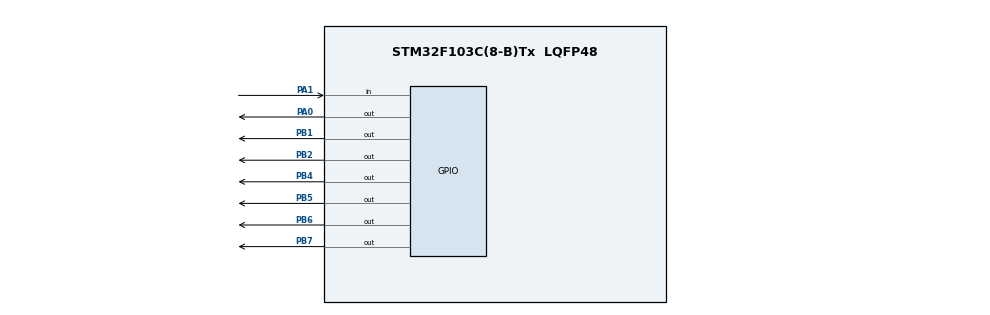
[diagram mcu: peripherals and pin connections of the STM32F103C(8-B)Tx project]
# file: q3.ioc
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Mcu.Family=STM32F1
Mcu.Name=STM32F103C(8-B)Tx
Mcu.Package=LQFP48
NVIC.PriorityGroup=NVIC_PRIORITYGROUP_4
PA0-WKUP.Signal=GPIO_Output
PA1.Signal=GPIO_Input
PB1.Signal=GPIO_Output
PB2.Signal=GPIO_Output
PB4.Signal=GPIO_Output
PB5.Signal=GPIO_Output
PB6.Signal=GPIO_Output
PB7.Signal=GPIO_Output
ProjectManager.HeapSize=0x200
ProjectManager.StackSize=0x400
ProjectManager.TargetToolchain=STM32CubeIDE
RCC.APB1Freq_Value=8000000
RCC.APB2Freq_Value=8000000
TIM1.Prescaler=7
VP_SYS_VS_ND.Mode=No_Debug
VP_TIM1_VS_ClockSourceINT.Mode=Internal
board=custom

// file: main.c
/* USER CODE BEGIN Header */
/**
  ******************************************************************************
  * @file           : main.c
  * @brief          : Main program body
  ******************************************************************************
  */
/* USER CODE END Header */
#include "main.h"

/* USER CODE BEGIN Includes */
#include "lcd.h"
#include <stdio.h>
/* USER CODE END Includes */

/* USER CODE BEGIN PD */
// --- Sensor Pin Definitions (Part A Only) ---
#define TRIG_GPIO_Port GPIOA
#define TRIG_Pin       GPIO_PIN_0  // Output

#define ECHO_GPIO_Port GPIOA
#define ECHO_Pin       GPIO_PIN_1  // Input
/* USER CODE END PD */

TIM_HandleTypeDef htim1;

/* USER CODE BEGIN PV */
TIM_HandleTypeDef htim1; // Timer used for microsecond delays/counting
uint32_t local_time = 0;
uint16_t distance = 0;
char lcd_buffer[16];

Lcd_HandleTypeDef lcd;   // LCD handle instance
/* USER CODE END PV */

void SystemClock_Config(void);
static void MX_GPIO_Init(void);
static void MX_TIM1_Init(void);
/* USER CODE BEGIN PFP */
// Ensure you have MX_TIM1_Init() defined if generated by CubeMX
/* USER CODE END PFP */

/* USER CODE BEGIN 0 */
// Function to create a microsecond delay using Timer 1
void delay_us (uint16_t us) {
    __HAL_TIM_SET_COUNTER(&htim1, 0);
    while (__HAL_TIM_GET_COUNTER(&htim1) < us);
}
/* USER CODE END 0 */

int main(void)
{

  /* MCU Configuration--------------------------------------------------------*/

  /* Reset of all peripherals, Initializes the Flash interface and the Systick. */
  HAL_Init();

  /* Configure the system clock */
  SystemClock_Config();

  /* Initialize all configured peripherals */
  MX_GPIO_Init();
  MX_TIM1_Init();
  /* USER CODE BEGIN 2 */

  // Note: Make sure TIM1 is initialized! Call MX_TIM1_Init() if generated.
  HAL_TIM_Base_Start(&htim1); // Start the timer

  // Map your configured outputs to the LCD pins
  // Assuming: D4=PB4, D5=PB5, D6=PB6, D7=PB7 | RS=PB1 | EN=PB2
  Lcd_PortType ports[] = {GPIOB, GPIOB, GPIOB, GPIOB};
  Lcd_PinType pins[] = {GPIO_PIN_4, GPIO_PIN_5, GPIO_PIN_6, GPIO_PIN_7};

  lcd = Lcd_create(ports, pins, GPIOB, GPIO_PIN_1, GPIOB, GPIO_PIN_2, LCD_4_BIT_MODE);

  /* USER CODE END 2 */

  /* Infinite loop */
  /* USER CODE BEGIN WHILE */
	  while (1)
	    {
	        // =========================================================
	        // PART A: Ultrasonic Sensor Reading (Distance)
	        // =========================================================

	        // 1. Send a 15us pulse to Trigger (PA0)
	        HAL_GPIO_WritePin(GPIOA, GPIO_PIN_0, GPIO_PIN_SET);
	        delay_us(15);
	        HAL_GPIO_WritePin(GPIOA, GPIO_PIN_0, GPIO_PIN_RESET);

	        // 2. Wait for Echo pin (PA1) to go HIGH with timeout
	        uint32_t wait_timeout = 60000;
	        while (!(HAL_GPIO_ReadPin(GPIOA, GPIO_PIN_1)) && wait_timeout-- > 0);

	        // 3. Measure how long Echo pin stays HIGH using the Hardware Timer
	        __HAL_TIM_SET_COUNTER(&htim1, 0);
	        while (HAL_GPIO_ReadPin(GPIOA, GPIO_PIN_1) && __HAL_TIM_GET_COUNTER(&htim1) < 50000);

	        // 4. Get the exact microsecond time
	        local_time = __HAL_TIM_GET_COUNTER(&htim1);

	        // 5. Calculate Distance using Proteus CAL factor (58)
	        if (local_time >= 50000 || wait_timeout == 0) {
	            distance = 0;
	        } else {
	            distance = local_time / 58;
	        }

	        // =========================================================
	        // PART B: IR Proximity Sensor Reading
	        // =========================================================

	        // Read the state of the IR sensor OUT pin (PA2)
	        // LOW (RESET) usually means an object is reflecting the IR light
	        GPIO_PinState ir_state = HAL_GPIO_ReadPin(GPIOA, GPIO_PIN_2);

	        // =========================================================
	        // Update the LCD Display
	        // =========================================================
	        Lcd_clear(&lcd);

	        // Top Row: Print Ultrasonic Distance
	        sprintf(lcd_buffer, "Dist: %d cm", distance);
	        Lcd_cursor(&lcd, 0, 0);
	        Lcd_string(&lcd, lcd_buffer);

	        // Bottom Row: Print IR Sensor Status
	        Lcd_cursor(&lcd, 1, 0);
	        if (ir_state == GPIO_PIN_RESET) {
	            Lcd_string(&lcd, "Object Detected!");
	        } else {
	            Lcd_string(&lcd, "Path Clear");
	        }

	        HAL_Delay(250); // Delay for LCD stability and simulation pacing

	      /* USER CODE END WHILE */

  }
}

void SystemClock_Config(void)
{
  RCC_OscInitTypeDef RCC_OscInitStruct = {0};
  RCC_ClkInitTypeDef RCC_ClkInitStruct = {0};

  /** Initializes the RCC Oscillators according to the specified parameters
  * in the RCC_OscInitTypeDef structure.
  */
  RCC_OscInitStruct.OscillatorType = RCC_OSCILLATORTYPE_HSI;
  RCC_OscInitStruct.HSIState = RCC_HSI_ON;
  RCC_OscInitStruct.HSICalibrationValue = RCC_HSICALIBRATION_DEFAULT;
  RCC_OscInitStruct.PLL.PLLState = RCC_PLL_NONE;
  if (HAL_RCC_OscConfig(&RCC_OscInitStruct) != HAL_OK)
  {
    Error_Handler();
  }

  /** Initializes the CPU, AHB and APB buses clocks
  */
  RCC_ClkInitStruct.ClockType = RCC_CLOCKTYPE_HCLK|RCC_CLOCKTYPE_SYSCLK
                              |RCC_CLOCKTYPE_PCLK1|RCC_CLOCKTYPE_PCLK2;
  RCC_ClkInitStruct.SYSCLKSource = RCC_SYSCLKSOURCE_HSI;
  RCC_ClkInitStruct.AHBCLKDivider = RCC_SYSCLK_DIV1;
  RCC_ClkInitStruct.APB1CLKDivider = RCC_HCLK_DIV1;
  RCC_ClkInitStruct.APB2CLKDivider = RCC_HCLK_DIV1;

  if (HAL_RCC_ClockConfig(&RCC_ClkInitStruct, FLASH_LATENCY_0) != HAL_OK)
  {
    Error_Handler();
  }
}

static void MX_TIM1_Init(void)
{

  TIM_ClockConfigTypeDef sClockSourceConfig = {0};
  TIM_MasterConfigTypeDef sMasterConfig = {0};

  htim1.Instance = TIM1;
  htim1.Init.Prescaler = 7;
  htim1.Init.CounterMode = TIM_COUNTERMODE_UP;
  htim1.Init.Period = 65535;
  htim1.Init.ClockDivision = TIM_CLOCKDIVISION_DIV1;
  htim1.Init.RepetitionCounter = 0;
  htim1.Init.AutoReloadPreload = TIM_AUTORELOAD_PRELOAD_DISABLE;
  if (HAL_TIM_Base_Init(&htim1) != HAL_OK)
  {
    Error_Handler();
  }
  sClockSourceConfig.ClockSource = TIM_CLOCKSOURCE_INTERNAL;
  if (HAL_TIM_ConfigClockSource(&htim1, &sClockSourceConfig) != HAL_OK)
  {
    Error_Handler();
  }
  sMasterConfig.MasterOutputTrigger = TIM_TRGO_RESET;
  sMasterConfig.MasterSlaveMode = TIM_MASTERSLAVEMODE_DISABLE;
  if (HAL_TIMEx_MasterConfigSynchronization(&htim1, &sMasterConfig) != HAL_OK)
  {
    Error_Handler();
  }

}

static void MX_GPIO_Init(void)
{
  GPIO_InitTypeDef GPIO_InitStruct = {0};

  /* GPIO Ports Clock Enable */
  __HAL_RCC_GPIOA_CLK_ENABLE();
  __HAL_RCC_GPIOB_CLK_ENABLE();

  /*Configure GPIO pin Output Level */
  HAL_GPIO_WritePin(GPIOA, GPIO_PIN_0, GPIO_PIN_RESET);

  /*Configure GPIO pin Output Level */
  HAL_GPIO_WritePin(GPIOB, GPIO_PIN_1|GPIO_PIN_2|GPIO_PIN_4|GPIO_PIN_5
                          |GPIO_PIN_6|GPIO_PIN_7, GPIO_PIN_RESET);

  /*Configure GPIO pin : PA0 */
  GPIO_InitStruct.Pin = GPIO_PIN_0;
  GPIO_InitStruct.Mode = GPIO_MODE_OUTPUT_PP;
  GPIO_InitStruct.Pull = GPIO_NOPULL;
  GPIO_InitStruct.Speed = GPIO_SPEED_FREQ_LOW;
  HAL_GPIO_Init(GPIOA, &GPIO_InitStruct);

  /*Configure GPIO pin : PA1 */
  GPIO_InitStruct.Pin = GPIO_PIN_1;
  GPIO_InitStruct.Mode = GPIO_MODE_INPUT;
  GPIO_InitStruct.Pull = GPIO_NOPULL;
  HAL_GPIO_Init(GPIOA, &GPIO_InitStruct);

  /*Configure GPIO pins : PB1 PB2 PB4 PB5
                           PB6 PB7 */
  GPIO_InitStruct.Pin = GPIO_PIN_1|GPIO_PIN_2|GPIO_PIN_4|GPIO_PIN_5
                          |GPIO_PIN_6|GPIO_PIN_7;
  GPIO_InitStruct.Mode = GPIO_MODE_OUTPUT_PP;
  GPIO_InitStruct.Pull = GPIO_NOPULL;
  GPIO_InitStruct.Speed = GPIO_SPEED_FREQ_LOW;
  HAL_GPIO_Init(GPIOB, &GPIO_InitStruct);

}

void Error_Handler(void)
{
  __disable_irq();
  while (1)
  {
  }
}
